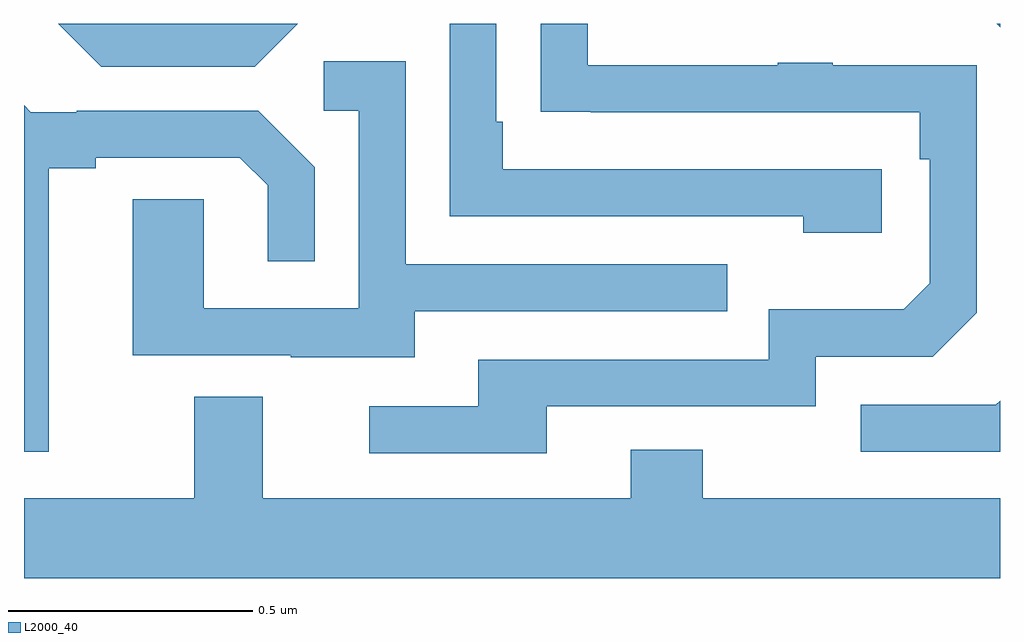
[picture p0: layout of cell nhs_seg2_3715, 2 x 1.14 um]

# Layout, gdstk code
import gdstk
lib = gdstk.Library(unit=1e-6, precision=1e-09)
def P(c, l, *ps):  # polygons
    for p in ps: c.add(gdstk.Polygon(p, *l))
L2000_40 = (2000, 40)

nhs_seg2_3715 = lib.new_cell('nhs_seg2_3715')
P(nhs_seg2_3715, L2000_40, [(159,620.8),(158.993,620.8),(159,620.793)],
  [(158.071,620.016),(158.622,620.016),(158.622,620.118),(158.862,620.118),(158.952,620.208),(158.952,620.715),(158.657,620.715),(158.657,620.72),(158.545,620.72),(158.545,620.715),(158.155,620.715),(158.155,620.8),(158.059,620.8),(158.059,620.62),(158.161,620.62),(158.161,620.619),(158.836,620.619),(158.836,620.522),(158.856,620.522),(158.856,620.268),(158.803,620.215),(158.526,620.215),(158.526,620.112),(157.931,620.112),(157.931,620.016),(157.707,620.016),(157.707,619.92),(158.071,619.92)],
  [(157.561,620.8),(157.07,620.8),(157.158,620.712),(157.473,620.712)],
  [(158.758,620.502),(157.981,620.502),(157.981,620.599),(157.968,620.599),(157.968,620.8),(157.872,620.8),(157.872,620.406),(158.597,620.406),(158.597,620.372),(158.758,620.372)],
  [(157.801,620.211),(158.441,620.211),(158.441,620.307),(157.782,620.307),(157.782,620.723),(157.614,620.723),(157.614,620.622),(157.686,620.622),(157.686,620.217),(157.368,620.217),(157.368,620.441),(157.223,620.441),(157.223,620.121),(157.547,620.121),(157.547,620.117),(157.801,620.117)],
  [(157.051,620.504),(157.147,620.504),(157.147,620.526),(157.442,620.526),(157.499,620.469),(157.499,620.313),(157.596,620.313),(157.596,620.506),(157.48,620.622),(157.108,620.622),(157.108,620.619),(157.014,620.619),(157,620.633),(157,619.923),(157.051,619.923)],
  [(159,619.828),(158.391,619.828),(158.391,619.927),(158.243,619.927),(158.243,619.828),(157.489,619.828),(157.489,620.036),(157.349,620.036),(157.349,619.828),(157,619.828),(157,619.664),(159,619.664)],
  [(159,620.028),(158.991,620.019),(158.715,620.019),(158.715,619.923),(159,619.923)])

lib.write_gds('nhs_seg2_3715.gds')
